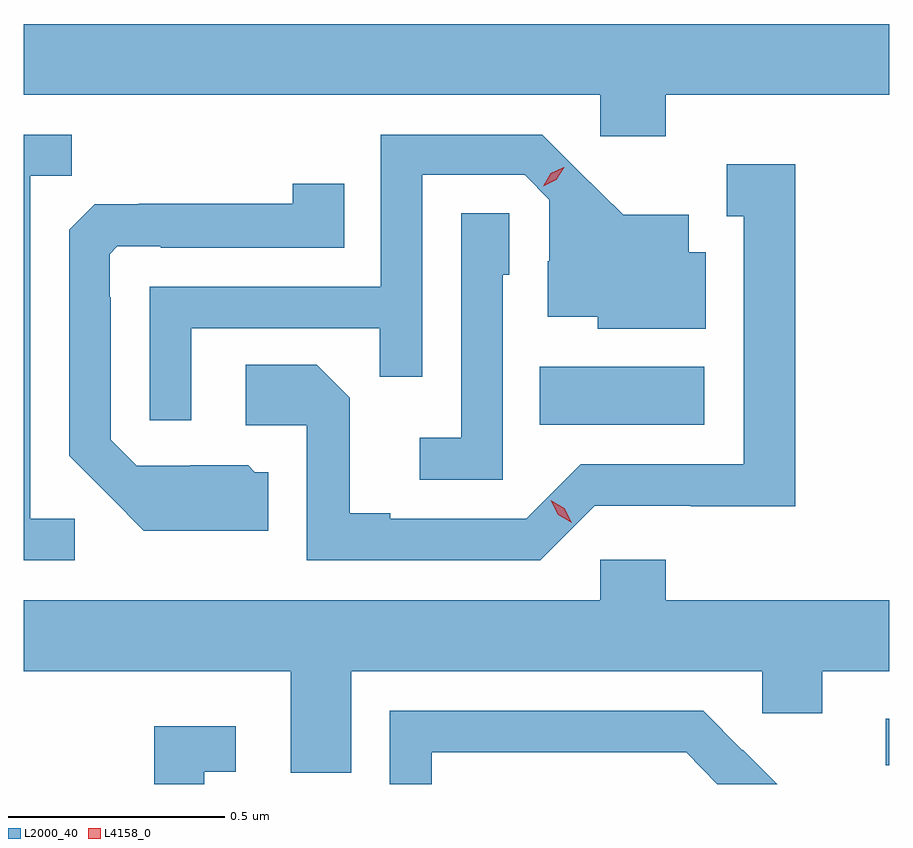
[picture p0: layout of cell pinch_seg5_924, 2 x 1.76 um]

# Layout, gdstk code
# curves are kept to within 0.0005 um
import gdstk
lib = gdstk.Library(unit=1e-6, precision=1e-09)
def R(c, l, rs):  # rectangles x0, y0, x1, y1
    for r in rs: c.add(gdstk.rectangle(r[:2], r[2:], *l))
def P(c, l, *ps):  # polygons
    for p in ps: c.add(gdstk.Polygon(p, *l))
L2000_40 = (2000, 40)
L4158_0 = (4158, 0)

pinch_seg5_924 = lib.new_cell('pinch_seg5_924')
R(pinch_seg5_924, L2000_40, [(707.598,909.822,707.606,909.93), (706.798,910.61,707.179,910.744)])
P(pinch_seg5_924, L2000_40, [(707.09,911.372),(707.606,911.372),(707.606,911.536),(705.606,911.536),(705.606,911.372),(706.938,911.372),(706.938,911.277),(707.09,911.277)],
  [(705.993,910.833),(706.429,910.833),(706.429,910.72),(706.527,910.72),(706.527,911.187),(706.764,911.187),(706.821,911.13),(706.821,910.988),(706.817,910.988),(706.817,910.859),(706.932,910.859),(706.932,910.832),(707.182,910.832),(707.182,911.008),(707.143,911.008),(707.143,911.095),(706.991,911.095),(706.804,911.28),(706.431,911.28),(706.431,910.929),(705.897,910.929),(705.897,910.62),(705.993,910.62)],
  [(705.724,910.392),(705.621,910.392),(705.621,911.185),(705.717,911.185),(705.717,911.28),(705.606,911.28),(705.606,910.296),(705.724,910.296)],
  [(706.926,910.422),(707.148,910.422),(707.148,910.421),(707.389,910.421),(707.389,911.212),(707.231,911.212),(707.231,911.091),(707.27,911.091),(707.27,910.518),(706.893,910.518),(706.767,910.392),(706.453,910.392),(706.453,910.405),(706.359,910.405),(706.359,910.672),(706.283,910.748),(706.119,910.748),(706.119,910.608),(706.26,910.608),(706.26,910.296),(706.8,910.296)],
  [(706.171,910.5),(706.14,910.5),(706.124,910.516),(705.99,910.516),(705.99,910.515),(705.867,910.515),(705.807,910.575),(705.807,910.904),(705.804,910.904),(705.804,911.004),(705.822,911.022),(705.922,911.022),(705.922,911.019),(706.346,911.019),(706.346,911.167),(706.228,911.167),(706.228,911.12),(705.871,911.12),(705.871,911.119),(705.77,911.119),(705.711,911.06),(705.711,910.538),(705.883,910.364),(706.171,910.364)],
  [(706.713,910.956),(706.728,910.956),(706.728,911.099),(706.617,911.099),(706.617,910.579),(706.521,910.579),(706.521,910.482),(706.713,910.482)],
  [(706.363,910.04),(707.313,910.04),(707.313,909.942),(707.452,909.942),(707.452,910.04),(707.606,910.04),(707.606,910.204),(707.09,910.204),(707.09,910.297),(706.938,910.297),(706.938,910.204),(705.606,910.204),(705.606,910.04),(706.223,910.04),(706.223,909.805),(706.363,909.805)],
  [(706.549,909.852),(707.137,909.852),(707.209,909.779),(707.347,909.779),(707.268,909.858),(707.267,909.857),(707.176,909.948),(706.452,909.948),(706.452,909.779),(706.549,909.779)],
  [(706.023,909.807),(706.096,909.807),(706.096,909.913),(705.907,909.913),(705.907,909.779),(706.023,909.779)])
P(pinch_seg5_924, L4158_0, [(706.872,910.383),(706.841,910.402),(706.824,910.435),(706.824,910.435),(706.824,910.435),(706.855,910.416),(706.872,910.383),(706.872,910.383)],
  [(706.806,911.161),(706.806,911.161),(706.824,911.191),(706.854,911.205),(706.855,911.205),(706.855,911.205),(706.837,911.176),(706.807,911.161)])

lib.write_gds('pinch_seg5_924.gds')
